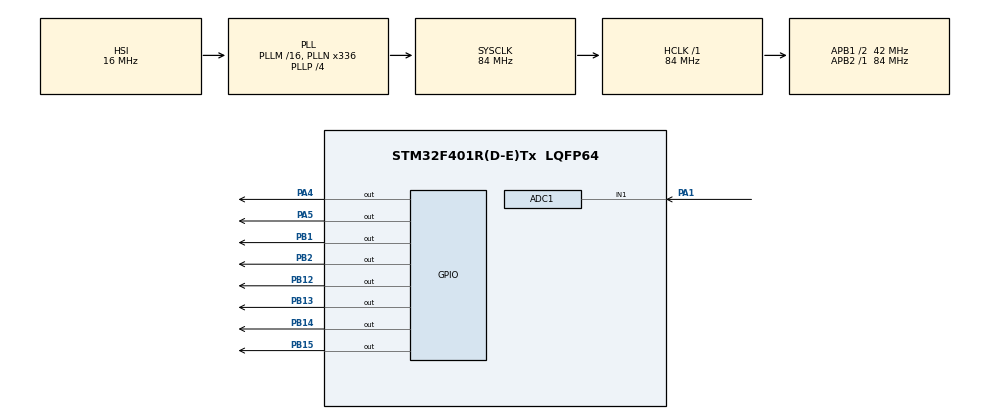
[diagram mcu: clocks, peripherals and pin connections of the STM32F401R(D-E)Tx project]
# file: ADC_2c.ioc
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ADC1.Channel-0\#ChannelRegularConversion=ADC_CHANNEL_1
ADC1.ExternalTrigConv=ADC_EXTERNALTRIGCONV_T2_TRGO
ADC1.NbrOfConversionFlag=1
ADC1.Rank-0\#ChannelRegularConversion=1
ADC1.SamplingTime-0\#ChannelRegularConversion=ADC_SAMPLETIME_480CYCLES
ADC1.master=1
Mcu.Family=STM32F4
Mcu.Name=STM32F401R(D-E)Tx
Mcu.Package=LQFP64
NVIC.ADC_IRQn=true\:0\:0\:false\:false\:true\:true\:true\:true
NVIC.PriorityGroup=NVIC_PRIORITYGROUP_0
PA1.Signal=SharedAnalog_PA1
PA13.GPIO_Label=TMS
PA13.Mode=Serial_Wire
PA13.Signal=SYS_JTMS-SWDIO
PA14.GPIO_Label=TCK
PA14.Mode=Serial_Wire
PA14.Signal=SYS_JTCK-SWCLK
PA4.Signal=GPIO_Output
PA5.Signal=GPIO_Output
PB1.Signal=GPIO_Output
PB12.Signal=GPIO_Output
PB13.Signal=GPIO_Output
PB14.Signal=GPIO_Output
PB15.Signal=GPIO_Output
PB2.Signal=GPIO_Output
PB3.GPIO_Label=SWO
PB3.Signal=SYS_JTDO-SWO
ProjectManager.HeapSize=0x200
ProjectManager.StackSize=0x400
ProjectManager.TargetToolchain=STM32CubeIDE
RCC.48MHZClocksFreq_Value=48000000
RCC.AHBFreq_Value=84000000
RCC.APB1CLKDivider=RCC_HCLK_DIV2
RCC.APB1Freq_Value=42000000
RCC.APB1TimFreq_Value=84000000
RCC.APB2Freq_Value=84000000
RCC.APB2TimFreq_Value=84000000
RCC.CortexFreq_Value=84000000
RCC.HCLKFreq_Value=84000000
RCC.HSE_VALUE=8000000
RCC.HSI_VALUE=16000000
RCC.LSE_VALUE=32768
RCC.PLLN=336
RCC.PLLP=RCC_PLLP_DIV4
RCC.PLLQ=7
RCC.SYSCLKFreq_VALUE=84000000
RCC.SYSCLKSource=RCC_SYSCLKSOURCE_PLLCLK
RCC.VCOOutputFreq_Value=336000000
SH.SharedAnalog_PA1.0=GPIO_Analog
SH.SharedAnalog_PA1.1=ADC1_IN1,IN1
TIM2.Period=(TEMPO*10)-1
TIM2.Prescaler=8400-1
TIM2.TIM_MasterOutputTrigger=TIM_TRGO_UPDATE
VP_TIM2_VS_ClockSourceINT.Mode=Internal
board=NUCLEO-F401RE

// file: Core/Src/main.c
/* USER CODE BEGIN Header */
/**
  ******************************************************************************
  * @file           : main.c
  * @brief          : Main program body
  ******************************************************************************
  * @attention
  *
  * Copyright (c) 2024 STMicroelectronics.
  * All rights reserved.
  *
  * This software is licensed under terms that can be found in the LICENSE file
  * in the root directory of this software component.
  * If no LICENSE file comes with this software, it is provided AS-IS.
  *
  ******************************************************************************
  */
/* USER CODE END Header */
#include "main.h"

/* USER CODE BEGIN Includes */
#include "PMDB16_LCD.h"
/* USER CODE END Includes */

ADC_HandleTypeDef hadc1;

TIM_HandleTypeDef htim2;

void SystemClock_Config(void);
static void MX_GPIO_Init(void);
static void MX_ADC1_Init(void);
static void MX_TIM2_Init(void);

/* USER CODE BEGIN 0 */
#define TEMPO 1000
char lcd_buffer[64]; // empty buffer with predefined maximum capacity
float voltage;

void HAL_ADC_ConvCpltCallback(ADC_HandleTypeDef *hadc) {
	if (hadc == &hadc1) {
		  if (HAL_ADC_PollForConversion(&hadc1, 10) == HAL_OK) {
			  lcd_clear();
			  int reading = HAL_ADC_GetValue(&hadc1);
			  voltage = reading*3.3/4096.0;
			  int bar = (int) (reading*80/4096);
			  snprintf(lcd_buffer, sizeof(lcd_buffer), "Voltage: %.3f V", voltage);
			  lcd_println(lcd_buffer, 0);
			  lcd_drawBar(bar);
		  }
	}
}
/* USER CODE END 0 */

int main(void)
{

  /* MCU Configuration--------------------------------------------------------*/

  /* Reset of all peripherals, Initializes the Flash interface and the Systick. */
  HAL_Init();

  /* Configure the system clock */
  SystemClock_Config();

  /* Initialize all configured peripherals */
  MX_GPIO_Init();
  MX_ADC1_Init();
  MX_TIM2_Init();
  /* USER CODE BEGIN 2 */
  lcd_initialize();
  lcd_backlight_ON ();

  HAL_TIM_Base_Start_IT(&htim2);
  HAL_ADC_Start_IT(&hadc1);
  /* USER CODE END 2 */

  /* Infinite loop */
  while (1)
  {

  }
}

void SystemClock_Config(void)
{
  RCC_OscInitTypeDef RCC_OscInitStruct = {0};
  RCC_ClkInitTypeDef RCC_ClkInitStruct = {0};

  /** Configure the main internal regulator output voltage
  */
  __HAL_RCC_PWR_CLK_ENABLE();
  __HAL_PWR_VOLTAGESCALING_CONFIG(PWR_REGULATOR_VOLTAGE_SCALE2);

  /** Initializes the RCC Oscillators according to the specified parameters
  * in the RCC_OscInitTypeDef structure.
  */
  RCC_OscInitStruct.OscillatorType = RCC_OSCILLATORTYPE_HSI;
  RCC_OscInitStruct.HSIState = RCC_HSI_ON;
  RCC_OscInitStruct.HSICalibrationValue = RCC_HSICALIBRATION_DEFAULT;
  RCC_OscInitStruct.PLL.PLLState = RCC_PLL_ON;
  RCC_OscInitStruct.PLL.PLLSource = RCC_PLLSOURCE_HSI;
  RCC_OscInitStruct.PLL.PLLM = 16;
  RCC_OscInitStruct.PLL.PLLN = 336;
  RCC_OscInitStruct.PLL.PLLP = RCC_PLLP_DIV4;
  RCC_OscInitStruct.PLL.PLLQ = 7;
  if (HAL_RCC_OscConfig(&RCC_OscInitStruct) != HAL_OK)
  {
    Error_Handler();
  }

  /** Initializes the CPU, AHB and APB buses clocks
  */
  RCC_ClkInitStruct.ClockType = RCC_CLOCKTYPE_HCLK|RCC_CLOCKTYPE_SYSCLK
                              |RCC_CLOCKTYPE_PCLK1|RCC_CLOCKTYPE_PCLK2;
  RCC_ClkInitStruct.SYSCLKSource = RCC_SYSCLKSOURCE_PLLCLK;
  RCC_ClkInitStruct.AHBCLKDivider = RCC_SYSCLK_DIV1;
  RCC_ClkInitStruct.APB1CLKDivider = RCC_HCLK_DIV2;
  RCC_ClkInitStruct.APB2CLKDivider = RCC_HCLK_DIV1;

  if (HAL_RCC_ClockConfig(&RCC_ClkInitStruct, FLASH_LATENCY_2) != HAL_OK)
  {
    Error_Handler();
  }
}

static void MX_ADC1_Init(void)
{

  ADC_ChannelConfTypeDef sConfig = {0};

  /** Configure the global features of the ADC (Clock, Resolution, Data Alignment and number of conversion)
  */
  hadc1.Instance = ADC1;
  hadc1.Init.ClockPrescaler = ADC_CLOCK_SYNC_PCLK_DIV4;
  hadc1.Init.Resolution = ADC_RESOLUTION_12B;
  hadc1.Init.ScanConvMode = DISABLE;
  hadc1.Init.ContinuousConvMode = DISABLE;
  hadc1.Init.DiscontinuousConvMode = DISABLE;
  hadc1.Init.ExternalTrigConvEdge = ADC_EXTERNALTRIGCONVEDGE_RISING;
  hadc1.Init.ExternalTrigConv = ADC_EXTERNALTRIGCONV_T2_TRGO;
  hadc1.Init.DataAlign = ADC_DATAALIGN_RIGHT;
  hadc1.Init.NbrOfConversion = 1;
  hadc1.Init.DMAContinuousRequests = DISABLE;
  hadc1.Init.EOCSelection = ADC_EOC_SINGLE_CONV;
  if (HAL_ADC_Init(&hadc1) != HAL_OK)
  {
    Error_Handler();
  }

  /** Configure for the selected ADC regular channel its corresponding rank in the sequencer and its sample time.
  */
  sConfig.Channel = ADC_CHANNEL_1;
  sConfig.Rank = 1;
  sConfig.SamplingTime = ADC_SAMPLETIME_480CYCLES;
  if (HAL_ADC_ConfigChannel(&hadc1, &sConfig) != HAL_OK)
  {
    Error_Handler();
  }

}

static void MX_TIM2_Init(void)
{

  TIM_ClockConfigTypeDef sClockSourceConfig = {0};
  TIM_MasterConfigTypeDef sMasterConfig = {0};

  htim2.Instance = TIM2;
  htim2.Init.Prescaler = 8400-1;
  htim2.Init.CounterMode = TIM_COUNTERMODE_UP;
  htim2.Init.Period = (TEMPO*10)-1;
  htim2.Init.ClockDivision = TIM_CLOCKDIVISION_DIV1;
  htim2.Init.AutoReloadPreload = TIM_AUTORELOAD_PRELOAD_DISABLE;
  if (HAL_TIM_Base_Init(&htim2) != HAL_OK)
  {
    Error_Handler();
  }
  sClockSourceConfig.ClockSource = TIM_CLOCKSOURCE_INTERNAL;
  if (HAL_TIM_ConfigClockSource(&htim2, &sClockSourceConfig) != HAL_OK)
  {
    Error_Handler();
  }
  sMasterConfig.MasterOutputTrigger = TIM_TRGO_UPDATE;
  sMasterConfig.MasterSlaveMode = TIM_MASTERSLAVEMODE_DISABLE;
  if (HAL_TIMEx_MasterConfigSynchronization(&htim2, &sMasterConfig) != HAL_OK)
  {
    Error_Handler();
  }

}

static void MX_GPIO_Init(void)
{
  GPIO_InitTypeDef GPIO_InitStruct = {0};

  /* GPIO Ports Clock Enable */
  __HAL_RCC_GPIOA_CLK_ENABLE();
  __HAL_RCC_GPIOB_CLK_ENABLE();

  /*Configure GPIO pin Output Level */
  HAL_GPIO_WritePin(GPIOA, GPIO_PIN_4|GPIO_PIN_5, GPIO_PIN_RESET);

  /*Configure GPIO pin Output Level */
  HAL_GPIO_WritePin(GPIOB, GPIO_PIN_1|GPIO_PIN_2|GPIO_PIN_12|GPIO_PIN_13
                          |GPIO_PIN_14|GPIO_PIN_15, GPIO_PIN_RESET);

  /*Configure GPIO pins : PA4 PA5 */
  GPIO_InitStruct.Pin = GPIO_PIN_4|GPIO_PIN_5;
  GPIO_InitStruct.Mode = GPIO_MODE_OUTPUT_PP;
  GPIO_InitStruct.Pull = GPIO_NOPULL;
  GPIO_InitStruct.Speed = GPIO_SPEED_FREQ_LOW;
  HAL_GPIO_Init(GPIOA, &GPIO_InitStruct);

  /*Configure GPIO pins : PB1 PB2 PB12 PB13
                           PB14 PB15 */
  GPIO_InitStruct.Pin = GPIO_PIN_1|GPIO_PIN_2|GPIO_PIN_12|GPIO_PIN_13
                          |GPIO_PIN_14|GPIO_PIN_15;
  GPIO_InitStruct.Mode = GPIO_MODE_OUTPUT_PP;
  GPIO_InitStruct.Pull = GPIO_NOPULL;
  GPIO_InitStruct.Speed = GPIO_SPEED_FREQ_LOW;
  HAL_GPIO_Init(GPIOB, &GPIO_InitStruct);

}

void Error_Handler(void)
{
  __disable_irq();
  while (1)
  {
  }
}
